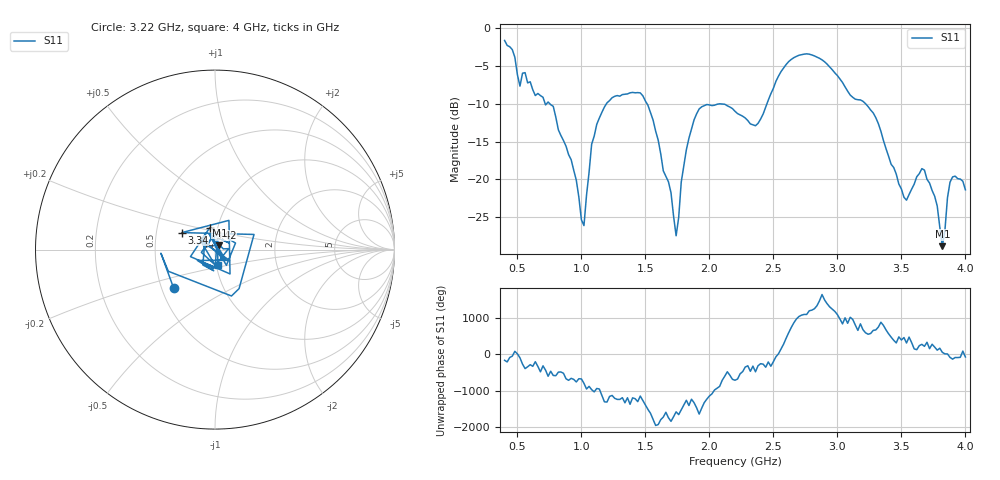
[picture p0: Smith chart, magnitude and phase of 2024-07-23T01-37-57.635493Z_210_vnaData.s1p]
!Created with skrf (http://scikit-rf.org).
# Hz S RI R 50.0
!freq ReS11 ImS11
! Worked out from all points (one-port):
!   181 points, 400 MHz to 4 GHz, reference 50 ohm
!   lowest |S11| = -28.8 dB at 3.82 GHz (marker M1), VSWR 1.08, Z = 52.5 + j2.79 ohm
!   |S11| at or under -10 dB: 751.9 MHz to 1.196 GHz (444.4 MHz wide, 45.6 % of centre); 1.512 GHz to 2.45 GHz (938 MHz wide, 47.3 % of centre); 3.219 GHz to end of sweep (the widest 3 of 4)
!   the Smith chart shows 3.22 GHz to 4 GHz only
!   S11 on the Smith chart (normalised r, x): 3.22 GHz: 0.58, -0.28; 3.34 GHz: 0.68, +0.13; 3.42 GHz: 0.92, +0.23; 4 GHz: 1.02, -0.17
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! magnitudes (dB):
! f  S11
! 400 MHz  -1.7
! 520 MHz  -7.7
! 560 MHz  -5.9
! 780 MHz  -10.4
! 860 MHz  -14.9
! 1.02 GHz  -26.1
! 1.08 GHz  -15.4
! 1.12 GHz  -12.7
! 1.3 GHz  -9.0
! 1.52 GHz  -10.2
! 1.7 GHz  -21.7
! 1.74 GHz  -27.4
! 1.76 GHz  -25.0
! 1.82 GHz  -16.1
! 1.92 GHz  -10.7
! 2.2 GHz  -11.0
! 2.36 GHz  -12.9
! 2.66 GHz  -3.9
! 3.1 GHz  -8.9
! 3.22 GHz  -10.0
! 3.34 GHz  -13.7
! 3.42 GHz  -18.0
! 3.56 GHz  -22.0
! 3.68 GHz  -18.8
! 3.78 GHz  -23.5
! 3.82 GHz  -28.8
! 3.88 GHz  -20.4
! 4 GHz  -21.4
